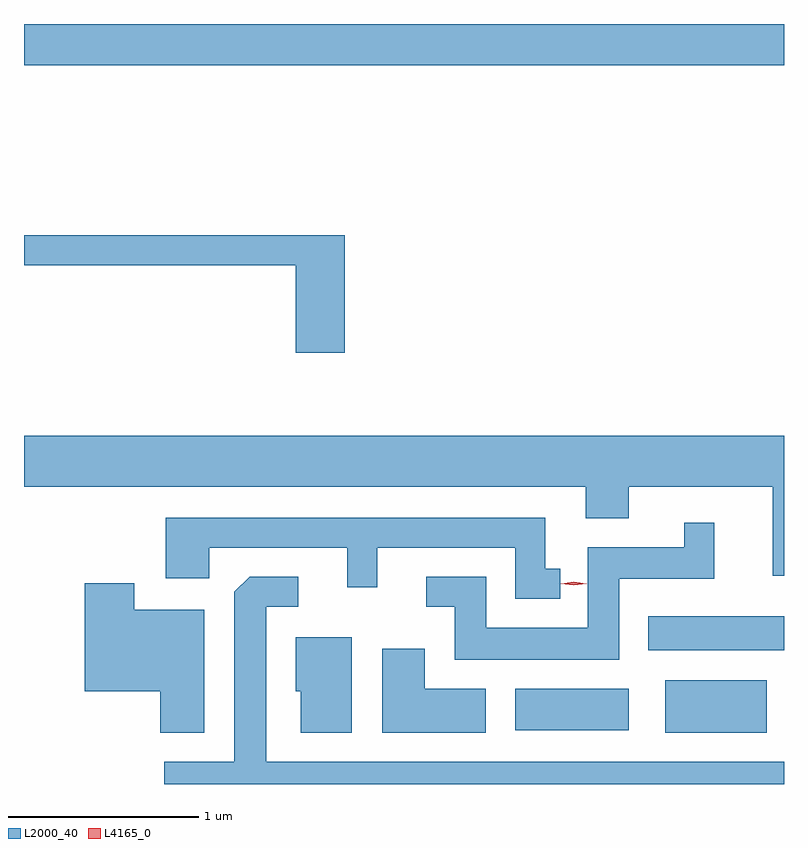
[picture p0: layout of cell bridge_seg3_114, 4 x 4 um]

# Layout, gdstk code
import gdstk
lib = gdstk.Library(unit=1e-6, precision=1e-09)
def R(c, l, rs):  # rectangles x0, y0, x1, y1
    for r in rs: c.add(gdstk.rectangle(r[:2], r[2:], *l))
def P(c, l, *ps):  # polygons
    for p in ps: c.add(gdstk.Polygon(p, *l))
L2000_40 = (2000, 40)
L4165_0 = (4165, 0)

bridge_seg3_114 = lib.new_cell('bridge_seg3_114')
R(bridge_seg3_114, L2000_40, [(1072.281,1237.941,1072.814,1238.219), (1071.491,1237.956,1072.089,1238.174), (1072.191,1238.376,1072.905,1238.554), (1068.905,1241.456,1072.905,1241.672)])
P(bridge_seg3_114, L2000_40, [(1070.594,1240.559),(1068.905,1240.559),(1068.905,1240.401),(1070.336,1240.401),(1070.336,1239.941),(1070.594,1239.941)],
  [(1072.905,1239.504),(1068.905,1239.504),(1068.905,1239.236),(1071.861,1239.236),(1071.861,1239.071),(1072.089,1239.071),(1072.089,1239.236),(1072.846,1239.236),(1072.846,1238.768),(1072.905,1238.768)],
  [(1071.728,1238.804),(1071.649,1238.804),(1071.649,1239.074),(1069.651,1239.074),(1069.651,1238.756),(1069.879,1238.756),(1069.879,1238.916),(1070.606,1238.916),(1070.606,1238.708),(1070.764,1238.708),(1070.764,1238.916),(1071.491,1238.916),(1071.491,1238.646),(1071.728,1238.646)],
  [(1072.039,1238.751),(1072.539,1238.751),(1072.539,1239.048),(1072.381,1239.048),(1072.381,1238.919),(1071.871,1238.919),(1071.871,1238.494),(1071.339,1238.494),(1071.339,1238.764),(1071.023,1238.764),(1071.023,1238.606),(1071.171,1238.606),(1071.171,1238.326),(1072.039,1238.326)],
  [(1072.905,1237.789),(1070.179,1237.789),(1070.179,1238.606),(1070.348,1238.606),(1070.348,1238.764),(1070.092,1238.764),(1070.011,1238.684),(1070.011,1237.789),(1069.643,1237.789),(1069.643,1237.672),(1072.905,1237.672)],
  [(1069.854,1238.589),(1069.484,1238.589),(1069.484,1238.729),(1069.226,1238.729),(1069.226,1238.161),(1069.621,1238.161),(1069.621,1237.941),(1069.854,1237.941)],
  [(1070.629,1238.444),(1070.336,1238.444),(1070.336,1238.161),(1070.361,1238.161),(1070.361,1237.941),(1070.629,1237.941)],
  [(1071.334,1238.174),(1071.014,1238.174),(1071.014,1238.384),(1070.791,1238.384),(1070.791,1237.941),(1071.334,1237.941)])
P(bridge_seg3_114, L4165_0, [(1071.798,1238.717),(1071.729,1238.726),(1071.729,1238.727),(1071.729,1238.727),(1071.798,1238.737),(1071.868,1238.727),(1071.868,1238.727),(1071.868,1238.726)])

lib.write_gds('bridge_seg3_114.gds')
